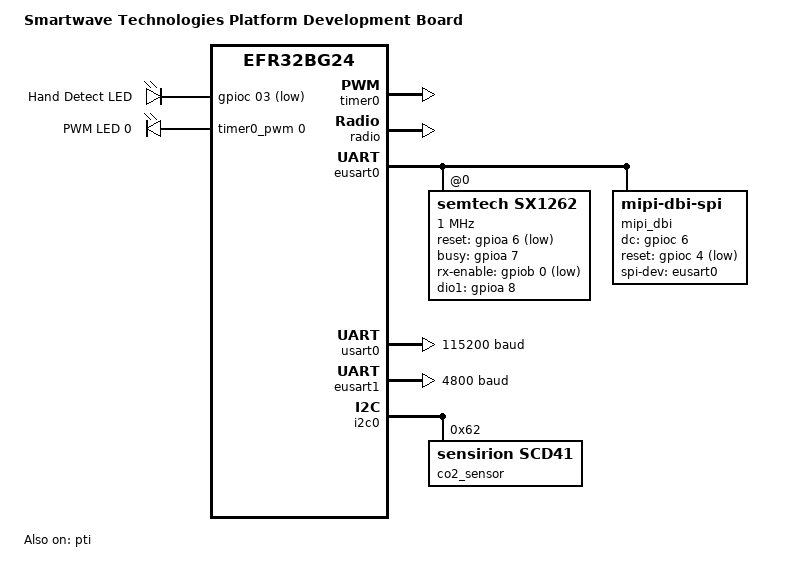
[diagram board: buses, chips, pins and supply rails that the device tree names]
/*
 * Copyright (c) 2025 Silicon Laboratories Inc.
 *
 * SPDX-License-Identifier: Apache-2.0
 */

/dts-v1/;
#include <silabs/xg24/efr32bg24a020f1024im40.dtsi>
#include <zephyr/dt-bindings/lora/sx126x.h>
#include <zephyr/dt-bindings/pwm/pwm.h>
#include "swt_043a_01.dtsi"
#include <zephyr/dt-bindings/pinctrl/silabs/xg24-pinctrl.h>
#include <zephyr/dt-bindings/mipi_dbi/mipi_dbi.h>
#include <zephyr/dt-bindings/spi/spi.h>

/ {
	model = "Smartwave Technologies Platform Development Board";
	compatible = "multitech,swt_043a_01", "silabs,efr32bg24";

	chosen {
		zephyr,display = &display0;
	};

	aliases {
		led1 = &hand_dect_led;
		lora0 = &lora0;
		pwm-led0 = &pwm_led0;
		sloan-uart = &eusart1;
	};



	leds{
		status = "okay";
		compatible = "gpio-leds";
		hand_dect_led: led_1{
			gpios = <&gpioc 03 GPIO_ACTIVE_LOW>;
			label = "Hand Detect LED";
		};
	};

	pwmleds {
		compatible = "pwm-leds";

		pwm_led0: pwm_led_0 {
			pwms = <&timer0_pwm 0 PWM_MSEC(5) PWM_POLARITY_NORMAL>;
			label = "PWM LED 0";
		};
	};
};

&timer0 {
	status = "okay";

	timer0_pwm: pwm {
		pinctrl-0 = <&timer0_default>;
		pinctrl-names = "default";
		status = "okay";
	};
};

&dcdc {
	silabs,pfmx-peak-current-milliamp = <120>;

};

&radio {
	status="okay";
	pa-voltage-mv = <1800>;
};

&eusart0 {
	status = "okay";
	pinctrl-0 = <&eusart0_default>;
	pinctrl-1 = <&eusart0_sleep>;
	pinctrl-names = "default", "sleep";
	cs-gpios = <&gpioa 0 GPIO_ACTIVE_LOW>, <&gpioc 2 GPIO_ACTIVE_LOW>; // Here we set the cs pins to only the SX1262 CS pin
	#address-cells = <1>;
	#size-cells = <0>;
	lora0: sx1262@0 {
		compatible = "semtech,sx1262";
		status = "okay";
		reg = <0>; // reg 0 refers to the first element of cs-gpio
		label = "sx1262";
		reset-gpios = <&gpioa 6 GPIO_ACTIVE_LOW>;
		busy-gpios = <&gpioa 7 GPIO_ACTIVE_HIGH>;
		rx-enable-gpios = <&gpiob 0 GPIO_ACTIVE_LOW>;
		dio1-gpios = <&gpioa 8 (GPIO_PULL_DOWN | GPIO_ACTIVE_HIGH)>;
		dio2-tx-enable;
		spi-max-frequency = <1000000>;
	};
	mipi_dbi {
		compatible = "zephyr,mipi-dbi-spi";
		spi-dev = <&eusart0>;

		dc-gpios = <&gpioc 6 GPIO_ACTIVE_HIGH>;
		reset-gpios = <&gpioc 4 GPIO_ACTIVE_LOW>;

		write-only;

		#address-cells = <1>;
		#size-cells = <0>;
		pinctrl-0 = <&eusart1_default>;
		pinctrl-names = "default";

		display0: st7796s@1 {
			compatible = "sitronix,st7796s";
			status = "okay";
			reg = <1>; // reg 0 refers to the first element of cs-gpio
			label = "lcd";
			mipi-max-frequency = <1000000>;
			mipi-mode = "MIPI_DBI_MODE_SPI_4WIRE";
			duplex = <SPI_FULL_DUPLEX>;
			height = <320>;
			width = <480>;
			invert-mode = "1-dot";
			frmctl1 = [80 10];
			bpc = [1f 50 00 20];
			dfc = [8a 07 3b];
			pwr1 = [80 64];
			pwr2 = <0x13>;
			pwr3 = <0xa7>;
			vcmpctl = <0x09>;
			doca = [40 8a 00 00 29 19 a5 33];
			pgc = [f0 06 0b 07 06 05 2e 33 47 3a 17 16 2e 31];
			ngc = [f0 09 0d 09 08 23 2e 33 46 38 13 13 2c 32];
			madctl = <0x28>;
			rgb-is-inverted;
			// color-invert;
			color-coding = "MIPI_DBI_MODE_RGB565";
			/* LCD_TE tearing signal is not available in SPI PMOD connector */
			te-mode = "MIPI_DBI_TE_NO_EDGE";
		};
	};
};

&usart0 {
	current-speed = <115200>;
	pinctrl-0 = <&usart0_default>;
	pinctrl-1 = <&usart0_sleep>;
	pinctrl-names = "default", "sleep";
	status = "okay";
};

&pti{
	status="okay";
	pinctrl-0 = <&pti_default>;
	pinctrl-names = "default";
	clock-frequency  = <1600000>;
	mode = "uart";
};



&pinctrl{
	eusart1_default: eusart1_default {
		group0 {
			pins = <EUSART1_TX_PC1>;
			drive-push-pull;
			output-high;
		};

		group1 {
			pins = <EUSART1_RX_PC5>;
			input-enable;
			silabs,input-filter;
		};
	};

	eusart1_sleep: eusart1_sleep {
		group0 {
			pins = <EUSART1_TX_PC1>, <EUSART1_RX_PC5>;
		};
	};

	i2c0_default: i2c0_default {
		group0 {
			pins = <I2C0_SCL_PB1>, <I2C0_SDA_PB2>;
			drive-open-drain;
			bias-pull-up;
		};
	};
};

&lfrco {
	precision-mode;
};

&lfxo{
	ctune=<0x64>;
};

&eusart1 {
	compatible = "silabs,eusart-uart";
	current-speed = <4800>;
	pinctrl-0 = <&eusart1_default>;
	pinctrl-1 = <&eusart1_sleep>;
	pinctrl-names = "default", "sleep";
	status = "okay";
};

&i2c0 {
	status = "okay";
	pinctrl-0 = <&i2c0_default>;
	pinctrl-names = "default";

	co2_sensor: scd41@62 {
        compatible = "sensirion,scd41";
		status = "okay";
        reg = <0x62>;
        mode = <0>;
    };
};

